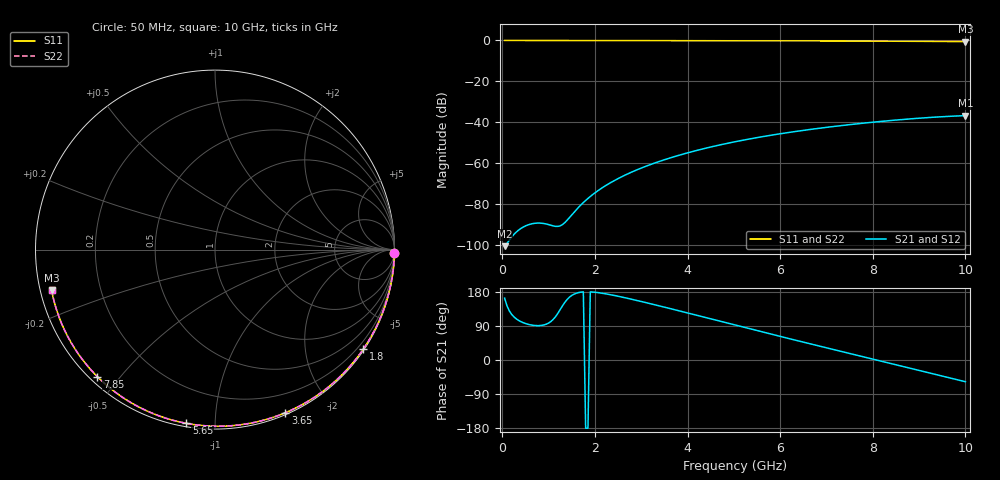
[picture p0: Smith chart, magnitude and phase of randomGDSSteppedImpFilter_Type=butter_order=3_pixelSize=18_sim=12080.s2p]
! freq	dB(S11)	phase(S11)	dB(S12)	phase(S12)
!  dB(S21)	phase(S21)	dB(S22)	phase(S22)
!S-par simulation data
#  GHz  S  DB  R 50
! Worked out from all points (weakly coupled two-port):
!   200 points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, 50 MHz to 10 GHz, reference 50 ohm
!   highest |S21| = -36.81 dB at 10 GHz (marker M1); lowest = -100.7 dB at 50 MHz (marker M2)
!   lowest |S11| = -0.6 dB at 10 GHz (marker M3), VSWR 31.18, Z = 1.63 - j6.08 ohm
!   |S11| at or under -10 dB: nowhere
!   |S22| runs from -0.6 to 0.0 dB; largest |S21 - S12| = 0
!   S11 on the Smith chart (normalised r, x): 50 MHz: open; 1.8 GHz: 0.03, -3.29; 3.65 GHz: 0.02, -1.52; 5.65 GHz: 0.02, -0.85; 7.85 GHz: 0.02, -0.44; 10 GHz: 0.03, -0.12
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0.05  -0.00 -1.0  -100.74 163.2  -100.74 163.2  -0.00 -1.0
0.45  -0.01 -8.6  -91.41 98.6  -91.41 98.6  -0.01 -8.6
0.85  -0.02 -16.2  -89.51 91.4  -89.51 91.4  -0.02 -16.2
1.7  -0.04 -32.0  -80.48 179.1  -80.48 179.1  -0.04 -32.0
1.75  -0.04 -32.9  -79.38 179.8  -79.38 179.8  -0.04 -32.9
1.8  -0.04 -33.8  -78.34 -180.0  -78.34 -180.0  -0.04 -33.8
1.95  -0.05 -36.6  -75.50 179.4  -75.50 179.4  -0.05 -36.6
2.1  -0.05 -39.3  -73.03 177.2  -73.03 177.2  -0.05 -39.3
2.45  -0.06 -45.7  -68.24 169.6  -68.24 169.6  -0.06 -45.7
2.9  -0.07 -53.7  -63.42 157.3  -63.42 157.3  -0.07 -53.7
3.4  -0.08 -62.4  -59.17 142.5  -59.17 142.5  -0.08 -62.4
3.65  -0.09 -66.7  -57.34 135.0  -57.34 135.0  -0.09 -66.7
4.3  -0.11 -77.6  -53.27 114.9  -53.27 114.9  -0.11 -77.6
5.05  -0.14 -89.8  -49.49 91.6  -49.49 91.6  -0.14 -89.8
5.65  -0.17 -99.3  -46.99 73.1  -46.99 73.1  -0.17 -99.3
6.15  -0.19 -107.1  -45.18 57.7  -45.18 57.7  -0.19 -107.1
6.7  -0.23 -115.5  -43.42 41.1  -43.42 41.1  -0.23 -115.5
7.25  -0.26 -123.8  -41.87 24.7  -41.87 24.7  -0.26 -123.8
7.85  -0.31 -132.8  -40.38 7.0  -40.38 7.0  -0.31 -132.8
8.35  -0.36 -140.4  -39.28 -7.8  -39.28 -7.8  -0.36 -140.4
9.2  -0.45 -153.3  -37.76 -33.3  -37.76 -33.3  -0.45 -153.3
10  -0.56 -166.1  -36.81 -57.3  -36.81 -57.3  -0.56 -166.1
